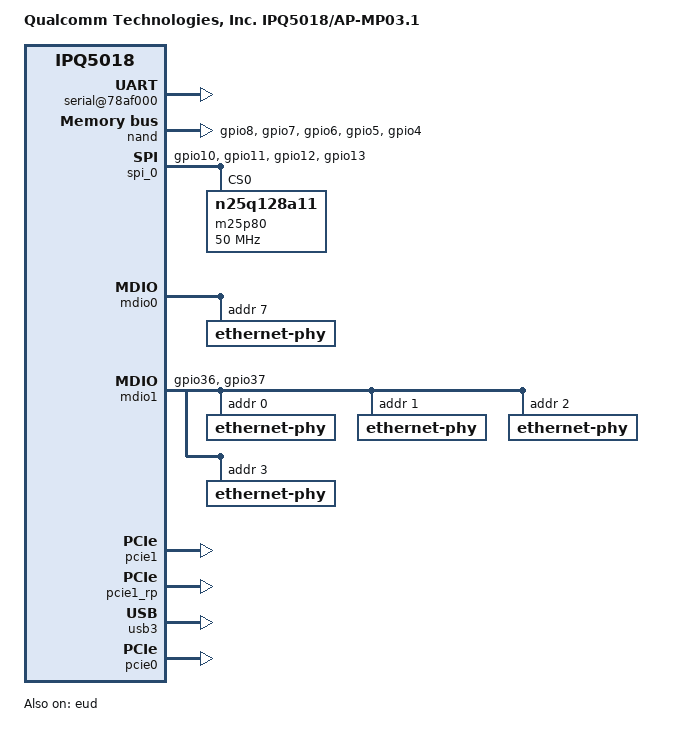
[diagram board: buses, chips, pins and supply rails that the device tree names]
/dts-v1/;
/* Copyright (c) 2018-2020, The Linux Foundation. All rights reserved.
 *
 * Permission to use, copy, modify, and/or distribute this software for any
 * purpose with or without fee is hereby granted, provided that the above
 * copyright notice and this permission notice appear in all copies.
 *
 * THE SOFTWARE IS PROVIDED "AS IS" AND THE AUTHOR DISCLAIMS ALL WARRANTIES
 * WITH REGARD TO THIS SOFTWARE INCLUDING ALL IMPLIED WARRANTIES OF
 * MERCHANTABILITY AND FITNESS. IN NO EVENT SHALL THE AUTHOR BE LIABLE FOR
 * ANY SPECIAL, DIRECT, INDIRECT, OR CONSEQUENTIAL DAMAGES OR ANY DAMAGES
 * WHATSOEVER RESULTING FROM LOSS OF USE, DATA OR PROFITS, WHETHER IN AN
 * ACTION OF CONTRACT, NEGLIGENCE OR OTHER TORTIOUS ACTION, ARISING OUT OF
 * OR IN CONNECTION WITH THE USE OR PERFORMANCE OF THIS SOFTWARE.
 */

#include "qcom-ipq5018.dtsi"

/ {
	#address-cells = <0x2>;
	#size-cells = <0x2>;
	model = "Qualcomm Technologies, Inc. IPQ5018/AP-MP03.1";
	compatible = "qcom,ipq5018-mp03.1", "qcom,ipq5018";
	interrupt-parent = <&intc>;

	aliases {
		sdhc1 = &sdhc_1; /* SDC1 eMMC slot */
		serial0 = &blsp1_uart1;
	};

	chosen {
		linux,initrd-end = <0x46000000>;
		linux,initrd-start = <0x44000000>;
		bootargs = "root=/dev/ram0 rw init=/init";
		stdout-path = "serial0";
	};

	soc {
		gcc: gcc@1800000 {
			gcc-use-dummy;
		};

		serial@78af000 {
			status = "ok";
		};

		qpic_bam: dma@7984000{
			status = "ok";
		};

		nand: qpic-nand@79b0000 {
			pinctrl-0 = <&qspi_nand_pins>;
			pinctrl-names = "default";
			status = "ok";
		};

		spi_0: spi@78b5000 { /* BLSP1 QUP0 */
			pinctrl-0 = <&blsp0_spi_pins>;
			pinctrl-names = "default";
			cs-select = <0>;
			status = "ok";

			m25p80@0 {
				#address-cells = <1>;
				#size-cells = <1>;
				reg = <0>;
				compatible = "n25q128a11";
				linux,modalias = "m25p80", "n25q128a11";
				spi-max-frequency = <50000000>;
				use-default-sizes;
			};
		};

		mdio0: mdio@88000 {
			status = "ok";

			ethernet-phy@0 {
				reg = <7>;
			};
		};

		mdio1: mdio@90000 {
			status = "ok";
			pinctrl-0 = <&mdio1_pins>;
			pinctrl-names = "default";
			phy-reset-gpio = <&tlmm 39 0>;
			ethernet-phy@0 {
				reg = <0>;
			};

			ethernet-phy@1 {
				reg = <1>;
			};

			ethernet-phy@2 {
				reg = <2>;
			};

			ethernet-phy@3 {
				reg = <3>;
			};
		};

		ess-instance {
			num_devices = <0x2>;
			ess-switch@0x39c00000 {
				compatible = "qcom,ess-switch-ipq50xx";
				device_id = <0>;
				switch_mac_mode = <0xf>; /* mac mode for uniphy instance*/
				qcom,port_phyinfo {
					port@0 {
						port_id = <1>;
						phy_address = <7>;
					};
					port@1 {
						port_id = <2>;
						forced-speed = <1000>;
						forced-duplex = <1>;
					};
				};
			};
			ess-switch1@1 {
				compatible = "qcom,ess-switch-qca83xx";
				device_id = <1>;
				switch_access_mode = "mdio";
				mdio-bus = <&mdio1>;
				switch_cpu_bmp = <0x40>;  /* cpu port bitmap */
				switch_lan_bmp = <0x1e>; /* lan port bitmap */
				switch_wan_bmp = <0x0>;  /* wan port bitmap */
				qca,ar8327-initvals = <
						0x00004 0x7600000   /* PAD0_MODE */
						0x00008 0x1000000   /* PAD5_MODE */
						0x0000c 0x80        /* PAD6_MODE */
						0x000e4 0xaa545     /* MAC_POWER_SEL */
						0x000e0 0xc74164de  /* SGMII_CTRL */
						0x0007c 0x4e        /* PORT0_STATUS */
						0x00094 0x4e        /* PORT6_STATUS */
				>;
				qcom,port_phyinfo {
					port@0 {
						port_id = <1>;
						phy_address = <0>;
					};
					port@1 {
						port_id = <2>;
						phy_address = <1>;
					};
					port@2 {
						port_id = <3>;
						phy_address = <2>;
					};
					port@3 {
						port_id = <4>;
						phy_address = <3>;
					};
				};
			};
		};

		pcie1: pci@a0000000 {
			status = "ok";
		};

		wifi0: wifi@c000000 {
			status = "disabled";
		};

		qcom,test@0 {
			status = "ok";
		};

		pcie1_rp {
		        status = "ok";

			mhi_1: qcom,mhi@1 {
				reg = <0 0 0 0 0 >;
				qrtr_instance_id = <0x8002>;
			};
		};
	};
};

&tlmm {
	pinctrl-0 = <&uart_pins>;
	pinctrl-names = "default";

	uart_pins: uart_pins {
		uart_rx_tx {
			pins = "gpio20", "gpio21";
			function = "blsp0_uart0";
			bias-disable;
		};
	};

	blsp0_spi_pins: blsp0_spi_pins {
		mux {
			pins = "gpio10", "gpio11", "gpio12", "gpio13";
			function = "blsp0_spi";
			drive-strength = <8>;
			bias-disable;
		};
	};

	qspi_nand_pins: qspi_nand_pins {
		qspi_cs {
				pins = "gpio8";
				function = "qspi_cs";
				drive-strength = <8>;
				bias-disable;
			};
		qspi_data_0 {
				pins = "gpio7";
				function = "qspi0";
				drive-strength = <8>;
				bias-disable;
			};
		qspi_data_1 {
				pins = "gpio6";
				function = "qspi1";
				drive-strength = <8>;
				bias-disable;
			};
		qspi_data_2 {
				pins = "gpio5";
				function = "qspi2";
				drive-strength = <8>;
				bias-disable;
			};
		qspi_data_3 {
				pins = "gpio4";
				function = "qspi3";
				drive-strength = <8>;
				bias-disable;
			};
	};

	mdio1_pins: mdio_pinmux {
		mux_0 {
			pins = "gpio36";
			function = "mdc";
			drive-strength = <8>;
			bias-pull-up;
		};

		mux_1 {
			pins = "gpio37";
			function = "mdio";
			drive-strength = <8>;
			bias-pull-up;
		};
	};
};

&usb3 {
	status = "ok";
};

&eud {
	status = "ok";
};

&pcie0 {
	status = "ok";
	perst-gpio = <&tlmm 15 1>;
};

&pcie1 {
	status = "ok";
	perst-gpio = <&tlmm 18 1>;
};
